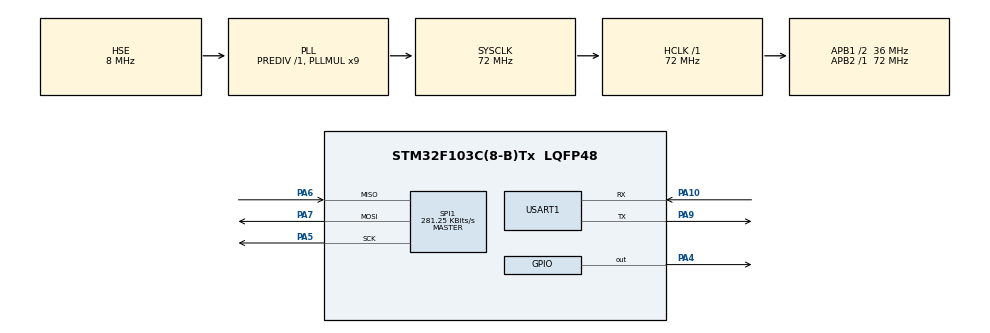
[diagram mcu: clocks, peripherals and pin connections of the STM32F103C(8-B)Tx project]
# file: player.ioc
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Mcu.Family=STM32F1
Mcu.Name=STM32F103C(8-B)Tx
Mcu.Package=LQFP48
NVIC.PriorityGroup=NVIC_PRIORITYGROUP_4
NVIC.SPI1_IRQn=true\:0\:0\:false\:false\:true\:true\:true
NVIC.TIM1_UP_IRQn=true\:0\:0\:false\:false\:true\:true\:true
NVIC.TIM4_IRQn=true\:0\:0\:false\:false\:true\:false\:true
NVIC.TimeBase=TIM4_IRQn
NVIC.TimeBaseIP=TIM4
NVIC.USART1_IRQn=true\:0\:0\:false\:false\:true\:true\:true
PA10.Mode=Asynchronous
PA10.Signal=USART1_RX
PA13.Mode=Serial_Wire
PA13.Signal=SYS_JTMS-SWDIO
PA14.Mode=Serial_Wire
PA14.Signal=SYS_JTCK-SWCLK
PA4.Signal=GPIO_Output
PA5.Mode=Full_Duplex_Master
PA5.Signal=SPI1_SCK
PA6.Mode=Full_Duplex_Master
PA6.Signal=SPI1_MISO
PA7.Mode=Full_Duplex_Master
PA7.Signal=SPI1_MOSI
PA9.Mode=Asynchronous
PA9.Signal=USART1_TX
PD0-OSC_IN.Mode=HSE-External-Oscillator
PD0-OSC_IN.Signal=RCC_OSC_IN
PD1-OSC_OUT.Mode=HSE-External-Oscillator
PD1-OSC_OUT.Signal=RCC_OSC_OUT
ProjectManager.HeapSize=0x200
ProjectManager.StackSize=0x400
ProjectManager.TargetToolchain=MDK-ARM V5.27
RCC.AHBFreq_Value=72000000
RCC.APB1CLKDivider=RCC_HCLK_DIV2
RCC.APB1Freq_Value=36000000
RCC.APB1TimFreq_Value=72000000
RCC.APB2Freq_Value=72000000
RCC.APB2TimFreq_Value=72000000
RCC.HCLKFreq_Value=72000000
RCC.PLLMUL=RCC_PLL_MUL9
RCC.PLLSourceVirtual=RCC_PLLSOURCE_HSE
RCC.SYSCLKFreq_VALUE=72000000
RCC.SYSCLKSource=RCC_SYSCLKSOURCE_PLLCLK
RCC.USBFreq_Value=72000000
SPI1.BaudRatePrescaler=SPI_BAUDRATEPRESCALER_256
SPI1.CalculateBaudRate=281.25 KBits/s
SPI1.Direction=SPI_DIRECTION_2LINES
SPI1.Mode=SPI_MODE_MASTER
SPI1.VirtualType=VM_MASTER
TIM1.Period=22
TIM1.Prescaler=35999
USART1.VirtualMode=VM_ASYNC
VP_SYS_VS_tim4.Mode=TIM4
VP_TIM1_VS_ClockSourceINT.Mode=Internal
board=custom

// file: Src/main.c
/* USER CODE BEGIN Header */
/**
  ******************************************************************************
  * @file           : main.c
  * @brief          : Main program body
  ******************************************************************************
  * @attention
  *
  * <h2><center>&copy; Copyright (c) 2019 STMicroelectronics.
  * All rights reserved.</center></h2>
  *
  * This software component is licensed by ST under Ultimate Liberty license
  * SLA0044, the "License"; You may not use this file except in compliance with
  * the License. You may obtain a copy of the License at:
  *                             www.st.com/SLA0044
  *
  ******************************************************************************
  */
/* USER CODE END Header */

#include "main.h"

/* USER CODE BEGIN Includes */
#include "../sd/sdcard.h"
#include "binary.h"

#include <stdarg.h>
#include <stdio.h>
#include <string.h>
/* USER CODE END Includes */

SPI_HandleTypeDef hspi1;

TIM_HandleTypeDef htim1;

UART_HandleTypeDef huart1;

void SystemClock_Config(void);
static void MX_GPIO_Init(void);
static void MX_SPI1_Init(void);
static void MX_TIM1_Init(void);
static void MX_USART1_UART_Init(void);
/* USER CODE BEGIN PFP */
void trc(char *fmt, ...)
{
    char buf[256] = {0};
    va_list li;
    va_start(li, fmt);
    vsprintf(buf, fmt, li);
    va_end(li);
    HAL_UART_Transmit(&huart1, (uint8_t *)buf, strlen(buf), 100);
}

#define _TRC(...) trc(__VA_ARGS__)
#define TRACE(...) _TRC(__VA_ARGS__)

/* USER CODE END PFP */

int main(void)
{

  /* MCU Configuration--------------------------------------------------------*/

  /* Reset of all peripherals, Initializes the Flash interface and the Systick. */
  HAL_Init();

  /* Configure the system clock */
  SystemClock_Config();

  /* Initialize all configured peripherals */
  MX_GPIO_Init();
  MX_SPI1_Init();
  MX_TIM1_Init();
  MX_USART1_UART_Init();

  /* Infinite loop */
  /* USER CODE BEGIN WHILE */
    TRACE("wav length %u\r\n", sizeof(wav));

    TRACE("SDCARD_Init %d\r\n", SDCARD_Init());
    uint8_t buff[512] = {0};
    uint16_t cnt_sec = sizeof(wav)/512;
    uint16_t it_sec = 1;

    for(it_sec = 0; it_sec < cnt_sec; it_sec++) {
        //TRACE("SDCARD_WriteBegin %04X blocks %u\r\n", SDCARD_WriteBegin(it_sec), it_sec);
        TRACE("SDCARD_WriteData sector N#%u %04X\r\n", it_sec, SDCARD_WriteSingleBlock(it_sec, &wav[it_sec*512])); // sizeof(buff) == 512!
        //TRACE("SDCARD_WriteEnd %04X\r\n", SDCARD_WriteEnd());
    }

    memset(buff, 0, 512);
    TRACE("SDCARD_ReadBegin %04X sector %u\r\n", SDCARD_ReadSingleBlock(it_sec - 1, buff), it_sec - 1);
    //TRACE("SDCARD_ReadData %04X\r\n", SDCARD_ReadData(buff)); // sizeof(buff) == 512!
    //TRACE("SDCARD_ReadEnd %04X\r\n", SDCARD_ReadEnd());

    for(uint16_t it = 0; it < 512; it+=4) {
        TRACE("sector N#%u four byte %04u data %04X\r\n", it_sec - 1, it, *(uint32_t *)&buff[it]);
    }

  while (1)
  {
    /* USER CODE END WHILE */

  }
}

void SystemClock_Config(void)
{
  RCC_OscInitTypeDef RCC_OscInitStruct = {0};
  RCC_ClkInitTypeDef RCC_ClkInitStruct = {0};

  /** Initializes the CPU, AHB and APB busses clocks
  */
  RCC_OscInitStruct.OscillatorType = RCC_OSCILLATORTYPE_HSE;
  RCC_OscInitStruct.HSEState = RCC_HSE_ON;
  RCC_OscInitStruct.HSEPredivValue = RCC_HSE_PREDIV_DIV1;
  RCC_OscInitStruct.HSIState = RCC_HSI_ON;
  RCC_OscInitStruct.PLL.PLLState = RCC_PLL_ON;
  RCC_OscInitStruct.PLL.PLLSource = RCC_PLLSOURCE_HSE;
  RCC_OscInitStruct.PLL.PLLMUL = RCC_PLL_MUL9;
  if (HAL_RCC_OscConfig(&RCC_OscInitStruct) != HAL_OK)
  {
    Error_Handler();
  }
  /** Initializes the CPU, AHB and APB busses clocks
  */
  RCC_ClkInitStruct.ClockType = RCC_CLOCKTYPE_HCLK|RCC_CLOCKTYPE_SYSCLK
                              |RCC_CLOCKTYPE_PCLK1|RCC_CLOCKTYPE_PCLK2;
  RCC_ClkInitStruct.SYSCLKSource = RCC_SYSCLKSOURCE_PLLCLK;
  RCC_ClkInitStruct.AHBCLKDivider = RCC_SYSCLK_DIV1;
  RCC_ClkInitStruct.APB1CLKDivider = RCC_HCLK_DIV2;
  RCC_ClkInitStruct.APB2CLKDivider = RCC_HCLK_DIV1;

  if (HAL_RCC_ClockConfig(&RCC_ClkInitStruct, FLASH_LATENCY_2) != HAL_OK)
  {
    Error_Handler();
  }
}

static void MX_SPI1_Init(void)
{

  /* SPI1 parameter configuration*/
  hspi1.Instance = SPI1;
  hspi1.Init.Mode = SPI_MODE_MASTER;
  hspi1.Init.Direction = SPI_DIRECTION_2LINES;
  hspi1.Init.DataSize = SPI_DATASIZE_8BIT;
  hspi1.Init.CLKPolarity = SPI_POLARITY_LOW;
  hspi1.Init.CLKPhase = SPI_PHASE_1EDGE;
  hspi1.Init.NSS = SPI_NSS_SOFT;
  hspi1.Init.BaudRatePrescaler = SPI_BAUDRATEPRESCALER_256;
  hspi1.Init.FirstBit = SPI_FIRSTBIT_MSB;
  hspi1.Init.TIMode = SPI_TIMODE_DISABLE;
  hspi1.Init.CRCCalculation = SPI_CRCCALCULATION_DISABLE;
  hspi1.Init.CRCPolynomial = 10;
  if (HAL_SPI_Init(&hspi1) != HAL_OK)
  {
    Error_Handler();
  }

}

static void MX_TIM1_Init(void)
{

  TIM_ClockConfigTypeDef sClockSourceConfig = {0};
  TIM_MasterConfigTypeDef sMasterConfig = {0};

  htim1.Instance = TIM1;
  htim1.Init.Prescaler = 35999;
  htim1.Init.CounterMode = TIM_COUNTERMODE_UP;
  htim1.Init.Period = 22;
  htim1.Init.ClockDivision = TIM_CLOCKDIVISION_DIV1;
  htim1.Init.RepetitionCounter = 0;
  htim1.Init.AutoReloadPreload = TIM_AUTORELOAD_PRELOAD_DISABLE;
  if (HAL_TIM_Base_Init(&htim1) != HAL_OK)
  {
    Error_Handler();
  }
  sClockSourceConfig.ClockSource = TIM_CLOCKSOURCE_INTERNAL;
  if (HAL_TIM_ConfigClockSource(&htim1, &sClockSourceConfig) != HAL_OK)
  {
    Error_Handler();
  }
  sMasterConfig.MasterOutputTrigger = TIM_TRGO_RESET;
  sMasterConfig.MasterSlaveMode = TIM_MASTERSLAVEMODE_DISABLE;
  if (HAL_TIMEx_MasterConfigSynchronization(&htim1, &sMasterConfig) != HAL_OK)
  {
    Error_Handler();
  }

}

static void MX_USART1_UART_Init(void)
{

  huart1.Instance = USART1;
  huart1.Init.BaudRate = 115200;
  huart1.Init.WordLength = UART_WORDLENGTH_8B;
  huart1.Init.StopBits = UART_STOPBITS_1;
  huart1.Init.Parity = UART_PARITY_NONE;
  huart1.Init.Mode = UART_MODE_TX_RX;
  huart1.Init.HwFlowCtl = UART_HWCONTROL_NONE;
  huart1.Init.OverSampling = UART_OVERSAMPLING_16;
  if (HAL_UART_Init(&huart1) != HAL_OK)
  {
    Error_Handler();
  }

}

static void MX_GPIO_Init(void)
{
  GPIO_InitTypeDef GPIO_InitStruct = {0};

  /* GPIO Ports Clock Enable */
  __HAL_RCC_GPIOD_CLK_ENABLE();
  __HAL_RCC_GPIOA_CLK_ENABLE();

  /*Configure GPIO pin Output Level */
  HAL_GPIO_WritePin(GPIOA, GPIO_PIN_4, GPIO_PIN_RESET);

  /*Configure GPIO pin : PA4 */
  GPIO_InitStruct.Pin = GPIO_PIN_4;
  GPIO_InitStruct.Mode = GPIO_MODE_OUTPUT_PP;
  GPIO_InitStruct.Pull = GPIO_NOPULL;
  GPIO_InitStruct.Speed = GPIO_SPEED_FREQ_LOW;
  HAL_GPIO_Init(GPIOA, &GPIO_InitStruct);

}

void HAL_TIM_PeriodElapsedCallback(TIM_HandleTypeDef *htim)
{
  if (htim->Instance == TIM4) {
    HAL_IncTick();
  }
}

void Error_Handler(void)
{
}

/************************ (C) COPYRIGHT STMicroelectronics *****END OF FILE****/
